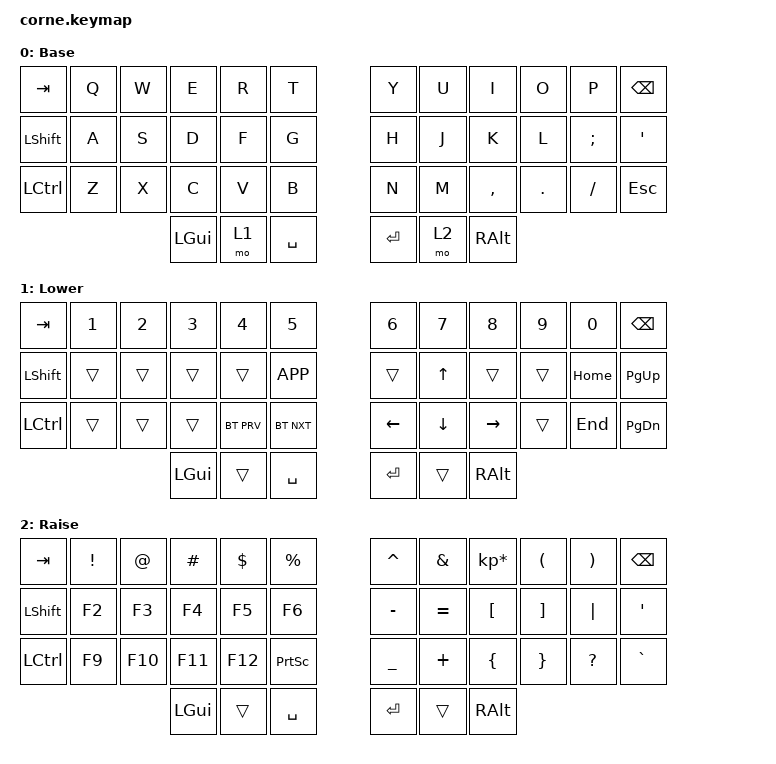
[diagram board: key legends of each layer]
/*
 * Copyright (c) 2020 The ZMK Contributors
 *
 * SPDX-License-Identifier: MIT
 */

#include <behaviors.dtsi>
#include <dt-bindings/zmk/keys.h>
#include <dt-bindings/zmk/bt.h>

/ {
        keymap {
                compatible = "zmk,keymap";

                default_layer {
// -----------------------------------------------------------------------------------------
// |  TAB |  Q  |  W  |  E  |  R  |  T  |   |  Y  |  U   |  I  |  O  |  P  | BKSP |
// | SHFT |  A  |  S  |  D  |  F  |  G  |   |  H  |  J   |  K  |  L  |  ;  |  '   |
// | CTRL |  Z  |  X  |  C  |  V  |  B  |   |  N  |  M   |  ,  |  .  |  /  | ESC  |
//                    | GUI | LWR | SPC |   | ENT | RSE  | ALT |
                        display-name = "Base";
                        bindings = <
   &kp TAB   &kp Q &kp W &kp E &kp R &kp T   &kp Y &kp U  &kp I     &kp O   &kp P    &kp BSPC
   &kp LSHFT &kp A &kp S &kp D &kp F &kp G   &kp H &kp J  &kp K     &kp L   &kp SEMI &kp SQT
   &kp LCTRL &kp Z &kp X &kp C &kp V &kp B   &kp N &kp M  &kp COMMA &kp DOT &kp FSLH &kp ESC
                  &kp LGUI &mo 1 &kp SPACE   &kp RET &mo 2 &kp RALT
                        >;
                };
                lower_layer {
// -----------------------------------------------------------------------------------------
// |  TAB |  1  |  2  |  3  |  4      |  5      |   |  6  |  7   |  8    |  9  |  0   | BKSP    |
// | SHFT |     |     |     |         | K_APP   |   |     |  UP  |       |     | HOME | PG UP   |
// | CTRL |     |     |     | BT PREV | BT NEXT |   | LFT | DOWN | RIGHT |     | END  | PG DOWN |
//                    | GUI |     | SPC |   | ENT |     | ALT |
                        display-name = "Lower";
                        bindings = <
   &kp TAB    &kp N1       &kp N2       &kp N3       &kp N4       &kp N5               &kp N6     &kp N7     &kp N8     &kp N9    &kp N0 &kp BSPC
   &kp LSHFT  &trans       &trans       &trans       &trans       &kp K_APP               &trans     &kp UP     &trans     &trans    &kp HOME &kp PG_UP
   &kp LCTRL  &trans       &trans       &trans       &bt BT_PRV   &bt BT_NXT           &kp LEFT   &kp DOWN   &kp RIGHT  &trans    &kp END &kp PG_DN
                          	        &kp LGUI     &trans       &kp SPACE      &kp RET  &trans   &kp RALT
                        >;
                };

                raise_layer {
// -----------------------------------------------------------------------------------------
// |  TAB |  !  |  @  |  #  |  $  |  %  |   |  ^  |  &  |  *  |  (  |  )  | BKSP |
// | SHFT | F2  | F3  | F4  | F5  | F6  |   |  -  |  =  |  [  |  ]  |  "|"  |   `   |
// | CTRL | F9  | F10 | F11 | F12 | PRINTSCREEN |  _  |  +  |  {  |  }  | ? |  ~   |
//                    | GUI |     | SPC |   | ENT |     | ALT |
                        display-name = "Raise";
                        bindings = <
   &kp  TAB  &kp EXCL &kp AT &kp HASH &kp DLLR &kp PRCNT   &kp CARET &kp AMPS  &kp KP_MULTIPLY &kp LPAR &kp RPAR &kp BSPC
   &kp LSHFT &kp F2   &kp F3 &kp F4   &kp F5   &kp F6      &kp MINUS &kp EQUAL &kp LBKT        &kp RBKT &kp PIPE &kp SQT
   &kp LCTRL &kp F9   &kp F10 &kp F11   &kp F12   &kp PRINTSCREEN      &kp UNDER &kp PLUS  &kp LBRC        &kp RBRC &kp QMARK &kp GRAVE
                    	     &kp LGUI &trans   &kp SPACE   &kp RET   &trans    &kp RALT
                        >;
                };

                extra_1 {
                        status = "reserved";
                };

                extra_2 {
                        status = "reserved";
                };

                extra_3 {
                        status = "reserved";
                };
        };
};
